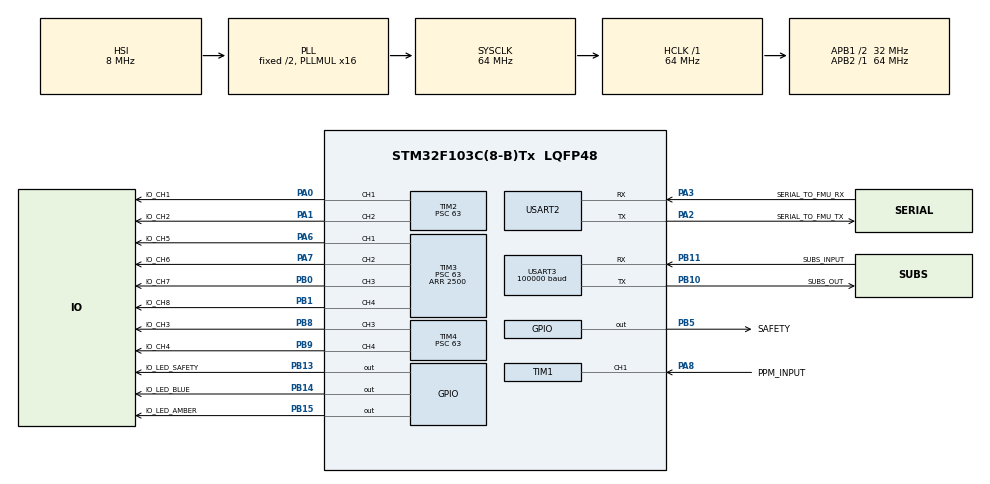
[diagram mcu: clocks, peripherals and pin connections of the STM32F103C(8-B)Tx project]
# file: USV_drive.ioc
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Dma.Request0=USART3_RX
Dma.Request1=USART2_RX
Dma.USART2_RX.1.Direction=DMA_PERIPH_TO_MEMORY
Dma.USART2_RX.1.Instance=DMA1_Channel6
Dma.USART2_RX.1.MemDataAlignment=DMA_MDATAALIGN_BYTE
Dma.USART2_RX.1.MemInc=DMA_MINC_ENABLE
Dma.USART2_RX.1.Mode=DMA_CIRCULAR
Dma.USART2_RX.1.PeriphDataAlignment=DMA_PDATAALIGN_BYTE
Dma.USART2_RX.1.PeriphInc=DMA_PINC_DISABLE
Dma.USART2_RX.1.Priority=DMA_PRIORITY_MEDIUM
Dma.USART3_RX.0.Direction=DMA_PERIPH_TO_MEMORY
Dma.USART3_RX.0.Instance=DMA1_Channel3
Dma.USART3_RX.0.MemDataAlignment=DMA_MDATAALIGN_BYTE
Dma.USART3_RX.0.MemInc=DMA_MINC_ENABLE
Dma.USART3_RX.0.Mode=DMA_CIRCULAR
Dma.USART3_RX.0.PeriphDataAlignment=DMA_PDATAALIGN_BYTE
Dma.USART3_RX.0.PeriphInc=DMA_PINC_DISABLE
Dma.USART3_RX.0.Priority=DMA_PRIORITY_HIGH
Mcu.Family=STM32F1
Mcu.Name=STM32F103C(8-B)Tx
Mcu.Package=LQFP48
NVIC.DMA1_Channel3_IRQn=true\:0\:0\:false\:false\:true\:false\:true
NVIC.DMA1_Channel6_IRQn=true\:0\:0\:false\:false\:true\:false\:true
NVIC.PriorityGroup=NVIC_PRIORITYGROUP_2
NVIC.TIM1_CC_IRQn=true\:1\:2\:true\:false\:true\:true\:true
NVIC.USART2_IRQn=true\:1\:0\:true\:false\:true\:true\:true
NVIC.USART3_IRQn=true\:1\:1\:true\:false\:true\:true\:true
PA0-WKUP.GPIO_Label=IO_CH1
PA0-WKUP.Signal=S_TIM2_CH1_ETR
PA1.GPIO_Label=IO_CH2
PA1.Signal=S_TIM2_CH2
PA13.Mode=Trace_Asynchronous_SW
PA13.Signal=SYS_JTMS-SWDIO
PA14.Mode=Trace_Asynchronous_SW
PA14.Signal=SYS_JTCK-SWCLK
PA2.GPIO_Label=SERIAL_TO_FMU_TX
PA2.Mode=Asynchronous
PA2.Signal=USART2_TX
PA3.GPIO_Label=SERIAL_TO_FMU_RX
PA3.Mode=Asynchronous
PA3.Signal=USART2_RX
PA6.GPIO_Label=IO_CH5
PA6.Signal=S_TIM3_CH1
PA7.GPIO_Label=IO_CH6
PA7.Signal=S_TIM3_CH2
PA8.GPIO_Label=PPM_INPUT
PA8.Signal=S_TIM1_CH1
PB0.GPIO_Label=IO_CH7
PB0.Signal=S_TIM3_CH3
PB1.GPIO_Label=IO_CH8
PB1.Signal=S_TIM3_CH4
PB10.GPIO_Label=SUBS_OUT
PB10.Mode=Asynchronous
PB10.Signal=USART3_TX
PB11.GPIO_Label=SUBS_INPUT
PB11.Mode=Asynchronous
PB11.Signal=USART3_RX
PB13.GPIO_Label=IO_LED_SAFETY
PB13.PinState=GPIO_PIN_SET
PB13.Signal=GPIO_Output
PB14.GPIO_Label=IO_LED_BLUE
PB14.PinState=GPIO_PIN_SET
PB14.Signal=GPIO_Output
PB15.GPIO_Label=IO_LED_AMBER
PB15.PinState=GPIO_PIN_SET
PB15.Signal=GPIO_Output
PB3.Mode=Trace_Asynchronous_SW
PB3.Signal=SYS_JTDO-TRACESWO
PB5.GPIO_Label=SAFETY
PB5.Signal=GPIO_Output
PB8.GPIO_Label=IO_CH3
PB8.Signal=S_TIM4_CH3
PB9.GPIO_Label=IO_CH4
PB9.Signal=S_TIM4_CH4
ProjectManager.HeapSize=0x200
ProjectManager.StackSize=0x400
ProjectManager.TargetToolchain=MDK-ARM V5.27
RCC.AHBFreq_Value=64000000
RCC.APB1CLKDivider=RCC_HCLK_DIV2
RCC.APB1Freq_Value=32000000
RCC.APB1TimFreq_Value=64000000
RCC.APB2Freq_Value=64000000
RCC.APB2TimFreq_Value=64000000
RCC.HCLKFreq_Value=64000000
RCC.HSEDivPLL=RCC_HSE_PREDIV_DIV2
RCC.HSE_VALUE=16000000
RCC.PLLMUL=RCC_PLL_MUL16
RCC.SYSCLKFreq_VALUE=64000000
RCC.SYSCLKSource=RCC_SYSCLKSOURCE_PLLCLK
RCC.USBFreq_Value=64000000
SH.S_TIM1_CH1.0=TIM1_CH1,Input_Capture1_from_TI1
SH.S_TIM2_CH1_ETR.0=TIM2_CH1,PWM Generation1 CH1
SH.S_TIM2_CH2.0=TIM2_CH2,PWM Generation2 CH2
SH.S_TIM3_CH1.0=TIM3_CH1,PWM Generation1 CH1
SH.S_TIM3_CH2.0=TIM3_CH2,PWM Generation2 CH2
SH.S_TIM3_CH3.0=TIM3_CH3,PWM Generation3 CH3
SH.S_TIM3_CH4.0=TIM3_CH4,PWM Generation4 CH4
SH.S_TIM4_CH3.0=TIM4_CH3,PWM Generation3 CH3
SH.S_TIM4_CH4.0=TIM4_CH4,PWM Generation4 CH4
TIM1.Channel-Input_Capture1_from_TI1=TIM_CHANNEL_1
TIM1.ICFilter_CH1=4
TIM1.Period=65535
TIM1.Prescaler=63
TIM2.Channel-PWM\ Generation1\ CH1=TIM_CHANNEL_1
TIM2.Channel-PWM\ Generation2\ CH2=TIM_CHANNEL_2
TIM2.Period=2500
TIM2.Prescaler=63
TIM2.Pulse-PWM\ Generation1\ CH1=1000
TIM2.Pulse-PWM\ Generation2\ CH2=1000
TIM3.Channel-PWM\ Generation1\ CH1=TIM_CHANNEL_1
TIM3.Channel-PWM\ Generation2\ CH2=TIM_CHANNEL_2
TIM3.Channel-PWM\ Generation3\ CH3=TIM_CHANNEL_3
TIM3.Channel-PWM\ Generation4\ CH4=TIM_CHANNEL_4
TIM3.Period=2500
TIM3.Prescaler=63
TIM3.Pulse-PWM\ Generation1\ CH1=1000
TIM3.Pulse-PWM\ Generation2\ CH2=1000
TIM3.Pulse-PWM\ Generation3\ CH3=1000
TIM3.Pulse-PWM\ Generation4\ CH4=1000
TIM4.Channel-PWM\ Generation3\ CH3=TIM_CHANNEL_3
TIM4.Channel-PWM\ Generation4\ CH4=TIM_CHANNEL_4
TIM4.Period=2500
TIM4.Prescaler=63
TIM4.Pulse-PWM\ Generation3\ CH3=1000
TIM4.Pulse-PWM\ Generation4\ CH4=1000
USART2.VirtualMode=VM_ASYNC
USART3.BaudRate=100000
USART3.Parity=PARITY_EVEN
USART3.StopBits=STOPBITS_2
USART3.VirtualMode=VM_ASYNC
USART3.WordLength=WORDLENGTH_9B
board=custom

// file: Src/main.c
/* USER CODE BEGIN Header */
/**
  ******************************************************************************
  * @file           : main.c
  * @brief          : Main program body
  ******************************************************************************
  * @attention
  *
  * <h2><center>&copy; Copyright (c) 2019 STMicroelectronics.
  * All rights reserved.</center></h2>
  *
  * This software component is licensed by ST under BSD 3-Clause license,
  * the "License"; You may not use this file except in compliance with the
  * License. You may obtain a copy of the License at:
  *                        opensource.org/licenses/BSD-3-Clause
  *
  ******************************************************************************
  */
/* USER CODE END Header */

#include "main.h"
#include "dma.h"
#include "tim.h"
#include "usart.h"
#include "gpio.h"

/* USER CODE BEGIN Includes */
#include "md_include.h"
#include "example.h"
/* USER CODE END Includes */

void SystemClock_Config(void);

int main(void)
{

  /* MCU Configuration--------------------------------------------------------*/

  /* Reset of all peripherals, Initializes the Flash interface and the Systick. */
  HAL_Init();

  /* Configure the system clock */
  SystemClock_Config();

  /* Initialize all configured peripherals */
  MX_GPIO_Init();
  MX_DMA_Init();
  MX_TIM1_Init();
  MX_TIM2_Init();
  MX_TIM3_Init();
  MX_TIM4_Init();
  MX_USART3_UART_Init();
  MX_USART2_UART_Init();
  /* USER CODE BEGIN 2 */
	RC_Input_Init();
	PWM_Set_Output_Enable();
	Com_TwoBoard_Init();
  /* USER CODE END 2 */

  /* Infinite loop */
  /* USER CODE BEGIN WHILE */
  while (1)
  {
		RC_Input_Loop();
		Example_Exchage_COM();
//		Example_RCin_PWMout_Direct();
    /* USER CODE END WHILE */

  }
}

void SystemClock_Config(void)
{
  RCC_OscInitTypeDef RCC_OscInitStruct = {0};
  RCC_ClkInitTypeDef RCC_ClkInitStruct = {0};

  /** Initializes the CPU, AHB and APB busses clocks
  */
  RCC_OscInitStruct.OscillatorType = RCC_OSCILLATORTYPE_HSI;
  RCC_OscInitStruct.HSIState = RCC_HSI_ON;
  RCC_OscInitStruct.HSICalibrationValue = RCC_HSICALIBRATION_DEFAULT;
  RCC_OscInitStruct.PLL.PLLState = RCC_PLL_ON;
  RCC_OscInitStruct.PLL.PLLSource = RCC_PLLSOURCE_HSI_DIV2;
  RCC_OscInitStruct.PLL.PLLMUL = RCC_PLL_MUL16;
  if (HAL_RCC_OscConfig(&RCC_OscInitStruct) != HAL_OK)
  {
    Error_Handler();
  }
  /** Initializes the CPU, AHB and APB busses clocks
  */
  RCC_ClkInitStruct.ClockType = RCC_CLOCKTYPE_HCLK|RCC_CLOCKTYPE_SYSCLK
                              |RCC_CLOCKTYPE_PCLK1|RCC_CLOCKTYPE_PCLK2;
  RCC_ClkInitStruct.SYSCLKSource = RCC_SYSCLKSOURCE_PLLCLK;
  RCC_ClkInitStruct.AHBCLKDivider = RCC_SYSCLK_DIV1;
  RCC_ClkInitStruct.APB1CLKDivider = RCC_HCLK_DIV2;
  RCC_ClkInitStruct.APB2CLKDivider = RCC_HCLK_DIV1;

  if (HAL_RCC_ClockConfig(&RCC_ClkInitStruct, FLASH_LATENCY_2) != HAL_OK)
  {
    Error_Handler();
  }
}

/* USER CODE BEGIN 4 */
/**************************函数声明*******************************
*函数名称：HAL_TIM_PeriodElapsedCallback(TIM_HandleTypeDef *htim)
*输入参数：
*返回参数：
*功    能：定时器捕捉回调函数
*作    者：
*日    期：2019/11/11
******************************************************************/
void HAL_TIM_IC_CaptureCallback(TIM_HandleTypeDef *htim)
{
	if(htim == &htim1)
	{
		if (htim->Channel == HAL_TIM_ACTIVE_CHANNEL_1)
  {
			PPM_RX_InterruptHandler();
  }
	}
}

/**************************函数声明*******************************
*函数名称：HAL_UART_RxCpltCallback(UART_HandleTypeDef *UartHandle)
*输入参数：
*返回参数：
*功    能：串口发送中断回调函数
*作    者：
*日    期：2019/11/19
*******************************************************************/
void HAL_UART_TxCpltCallback(UART_HandleTypeDef *huart)
{
  /* Set transmission flag: trasfer complete*/
	if(huart->Instance == USART2)
	{
	 Com_TwoBoard_TX_InterruptHandler();
	}
}

/**************************函数声明*******************************
*函数名称：HAL_UART_RxCpltCallback(UART_HandleTypeDef *UartHandle)
*输入参数：
*返回参数：
*功    能：串口接收中断回调函数
*作    者：
*日    期：2019/11/20
******************************************************************/
void HAL_UART_RxCpltCallback(UART_HandleTypeDef *huart)
{
  /* Set transmission flag: trasfer complete*/
  if(huart->Instance == USART3)
	{
	  SBUS_RX_InterruptHandler();
	}

	if(huart->Instance == USART2)
	{
	  Com_TwoBoard_RX_InterruptHandler();
	}
}
/* USER CODE END 4 */

void Error_Handler(void)
{
}

/************************ (C) COPYRIGHT STMicroelectronics *****END OF FILE****/
